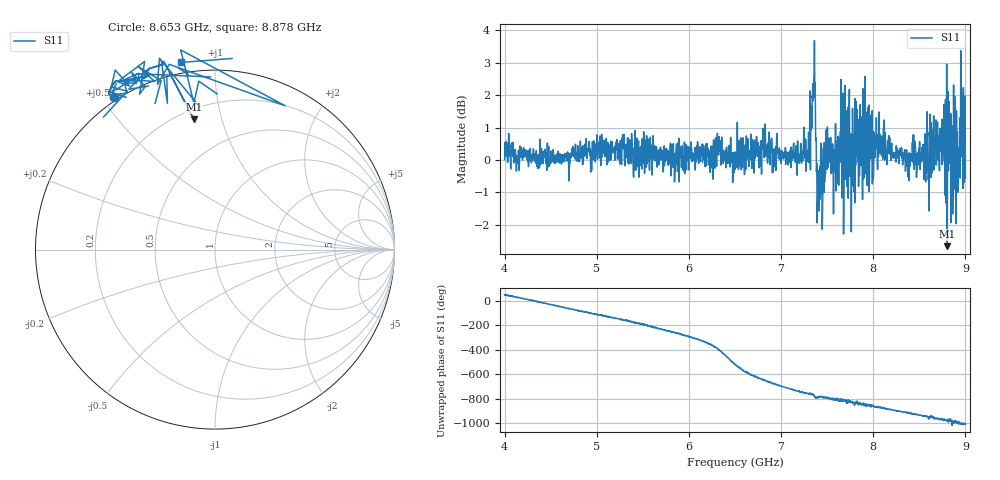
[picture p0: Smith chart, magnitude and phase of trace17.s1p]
! Created with skrf 1.8.0 (http://scikit-rf.org).
# Hz S RI R 50.0
!freq ReS11 ImS11
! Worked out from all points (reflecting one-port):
!   1601 points, 4 GHz to 9 GHz, reference 50 ohm
!   lowest |S11| = -2.7 dB at 8.803 GHz (marker M1), VSWR 6.58, Z = 12.9 + j40.9 ohm
!   phase of S11 starts at 48 deg and turns -1053 deg over the sweep
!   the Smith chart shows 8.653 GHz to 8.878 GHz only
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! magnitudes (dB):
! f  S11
! 4 GHz  0.0
! 4.625 GHz  -0.1
! 5.25 GHz  -0.1
! 5.875 GHz  0.2
! 6.312 GHz  0.4
! 6.5 GHz  -0.3
! 6.816 GHz  0.1
! 7.125 GHz  0.3
! 7.294 GHz  0.0
! 7.347 GHz  1.8
! 7.362 GHz  3.7
! 7.4 GHz  -0.5
! 7.409 GHz  -1.0
! 7.512 GHz  0.3
! 7.559 GHz  0.5
! 7.647 GHz  0.4
! 7.75 GHz  -0.4
! 7.775 GHz  1.6
! 7.828 GHz  0.1
! 7.875 GHz  -0.2
! 7.928 GHz  0.3
! 7.981 GHz  0.1
! 8.097 GHz  0.1
! 8.375 GHz  0.0
! 8.803 GHz  -2.7
! 8.869 GHz  -1.2
! 8.972 GHz  0.9
! 9 GHz  -0.6
